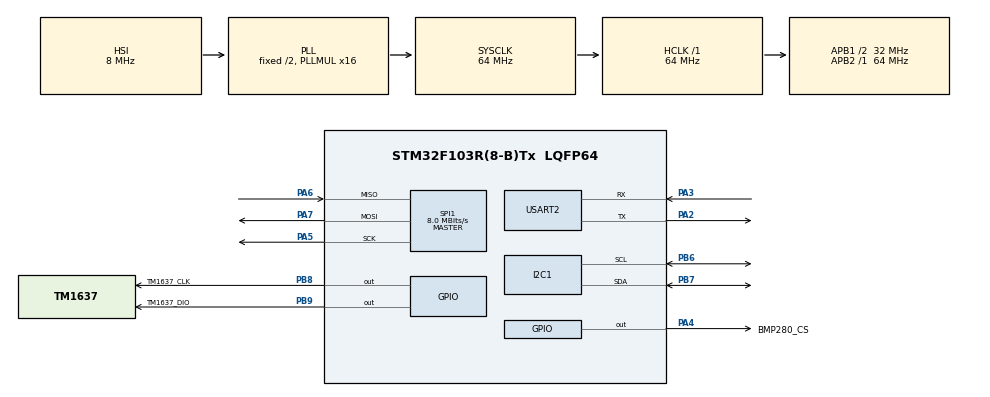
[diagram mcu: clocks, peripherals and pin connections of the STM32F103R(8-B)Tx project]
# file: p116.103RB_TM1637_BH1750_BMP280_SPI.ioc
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I2C1.I2C_Mode=I2C_Standard
Mcu.Family=STM32F1
Mcu.Name=STM32F103R(8-B)Tx
Mcu.Package=LQFP64
NVIC.PriorityGroup=NVIC_PRIORITYGROUP_4
PA13.Mode=Serial_Wire
PA13.Signal=SYS_JTMS-SWDIO
PA14.Mode=Serial_Wire
PA14.Signal=SYS_JTCK-SWCLK
PA2.Mode=Asynchronous
PA2.Signal=USART2_TX
PA3.Mode=Asynchronous
PA3.Signal=USART2_RX
PA4.GPIO_Label=BMP280_CS
PA4.GPIO_Speed=GPIO_SPEED_FREQ_HIGH
PA4.PinState=GPIO_PIN_SET
PA4.Signal=GPIO_Output
PA5.Mode=Full_Duplex_Master
PA5.Signal=SPI1_SCK
PA6.Mode=Full_Duplex_Master
PA6.Signal=SPI1_MISO
PA7.Mode=Full_Duplex_Master
PA7.Signal=SPI1_MOSI
PB6.Mode=I2C
PB6.Signal=I2C1_SCL
PB7.Mode=I2C
PB7.Signal=I2C1_SDA
PB8.GPIO_Label=TM1637_CLK
PB8.GPIO_Speed=GPIO_SPEED_FREQ_HIGH
PB8.PinState=GPIO_PIN_SET
PB8.Signal=GPIO_Output
PB9.GPIO_Label=TM1637_DIO
PB9.GPIO_ModeDefaultOutputPP=GPIO_MODE_OUTPUT_OD
PB9.GPIO_PuPd=GPIO_PULLUP
PB9.GPIO_Speed=GPIO_SPEED_FREQ_HIGH
PB9.PinState=GPIO_PIN_SET
PB9.Signal=GPIO_Output
ProjectManager.HeapSize=0x200
ProjectManager.StackSize=0x400
ProjectManager.TargetToolchain=STM32CubeIDE
RCC.AHBFreq_Value=64000000
RCC.APB1CLKDivider=RCC_HCLK_DIV2
RCC.APB1Freq_Value=32000000
RCC.APB1TimFreq_Value=64000000
RCC.APB2Freq_Value=64000000
RCC.APB2TimFreq_Value=64000000
RCC.HCLKFreq_Value=64000000
RCC.PLLMUL=RCC_PLL_MUL16
RCC.SYSCLKFreq_VALUE=64000000
RCC.SYSCLKSource=RCC_SYSCLKSOURCE_PLLCLK
RCC.USBFreq_Value=64000000
SPI1.BaudRatePrescaler=SPI_BAUDRATEPRESCALER_8
SPI1.CLKPhase=SPI_PHASE_2EDGE
SPI1.CLKPolarity=SPI_POLARITY_HIGH
SPI1.CalculateBaudRate=8.0 MBits/s
SPI1.Direction=SPI_DIRECTION_2LINES
SPI1.Mode=SPI_MODE_MASTER
SPI1.VirtualType=VM_MASTER
USART2.VirtualMode=VM_ASYNC
board=custom

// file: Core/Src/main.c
/* USER CODE BEGIN Header */
/**
  ******************************************************************************
  * @file           : main.c
  * @brief          : Main program body
  ******************************************************************************
  * @attention
  *
  * Copyright (c) 2026 STMicroelectronics.
  * All rights reserved.
  *
  * This software is licensed under terms that can be found in the LICENSE file
  * in the root directory of this software component.
  * If no LICENSE file comes with this software, it is provided AS-IS.
  *
  ******************************************************************************
  */
/* USER CODE END Header */
#include "main.h"

/* USER CODE BEGIN Includes */
#include <stdio.h>
#include <stdbool.h>
#include "bh1750.h"
#include "bmp280.h"
#include "tm1637.h"
/* USER CODE END Includes */

/* USER CODE BEGIN PM */

#define LOCAL_SEA_LEVEL_HPA    1023.4f
/* USER CODE END PM */

I2C_HandleTypeDef hi2c1;

SPI_HandleTypeDef hspi1;

UART_HandleTypeDef huart2;

/* USER CODE BEGIN PV */
static float illuminance = 0.0f; // 조도 (lx) - BH1750 (I2C1)
static float temperature = 0.0f; // 온도 (℃) - BMP280 (SPI1)
static float pressure    = 0.0f; // 기압 (hPa) - BMP280 (SPI1)
static float altitude    = 0.0f; // 고도 (m) - BMP280 (SPI1)
/* USER CODE END PV */

void SystemClock_Config(void);
static void MX_GPIO_Init(void);
static void MX_USART2_UART_Init(void);
static void MX_I2C1_Init(void);
static void MX_SPI1_Init(void);

/* USER CODE BEGIN 0 */
void __io_putchar(int ch)
{
	if(ch == '\n')
	{
		HAL_UART_Transmit (&huart2, (uint8_t*) "\r", 1, 0xffff);
	}

	HAL_UART_Transmit (&huart2, (uint8_t*) &ch, 1, 0xffff);
}
/* USER CODE END 0 */

int main(void)
{

  /* MCU Configuration--------------------------------------------------------*/

  /* Reset of all peripherals, Initializes the Flash interface and the Systick. */
  HAL_Init();

  /* Configure the system clock */
  SystemClock_Config();

  /* Initialize all configured peripherals */
  MX_GPIO_Init();
  MX_USART2_UART_Init();
  MX_I2C1_Init();
  MX_SPI1_Init();
  /* USER CODE BEGIN 2 */
  printf("\r\n======================================================================\r\n");
  printf("  [p116] STM32F103RB I2C1(BH1750) + SPI1(BMP280) System Demo          \r\n");
  printf("  - I2C1 (PB6=SCL, PB7=SDA): BH1750 Ambient Light Sensor (0x23)       \r\n");
  printf("  - SPI1 (PA4=CS, PA5=SCK, PA6=MISO, PA7=MOSI): BMP280 Sensor         \r\n");
  printf("  - GPIO (PB8/PB9): TM1637 4-Digit 7-Segment (Pressure Instant)       \r\n");
  printf("  - USART2 (PA2/PA3): 115200bps PC Tera Term Output                   \r\n");
  printf("======================================================================\r\n");

  // 1. TM1637 7-Segment 초기화 및 부팅 메시지 출력 ("TEST")
  TM1637_Init();
  TM1637_DisplayString("TEST");
  HAL_Delay(300);

  // 2. 센서 초기화 상태 확인
  uint8_t BH1750_init_ok = 1;
  uint8_t BMP280_init_ok = 1;

  // [I2C1] BH1750 조도 센서 초기화
  if (BH1750_Init(&hi2c1) == HAL_OK)
  {
      printf("[I2C1] BH1750 Light Sensor Initialized Successfully! (0x23)\r\n");
  }
  else
  {
      printf("[I2C1] BH1750 Light Sensor Initialization FAILED! (0x23)\r\n");
      BH1750_init_ok = 0;
  }

  // [SPI1] BMP280 기압/온도 센서 초기화 및 현지 해면기압(QNH) 보정 (방안 2)
  if (BMP280_Init(&hspi1) == HAL_OK)
  {
      // 현재 지역의 해면기압(QNH) 설정 -> 실제 해발 고도(m) 계산
      printf("[SPI1] BMP280 Sensor Initialized! (SeaLevel QNH: %.2f hPa)\r\n", BMP280_GetSeaLevelPressure());
  }
  else
  {
      printf("[SPI1] BMP280 Sensor Initialization FAILED! Check SPI1 Wiring (PA4~PA7).\r\n");
      BMP280_init_ok = 0;
  }

  // 초기화 결과 디스플레이
  if (BH1750_init_ok && BMP280_init_ok)
  {
      TM1637_DisplayString("GOOD");
      HAL_Delay(300);
  }
  else
  {
      TM1637_DisplayString("ERR ");
      HAL_Delay(300);
  }

  uint32_t lastUartTick       = 0;
  uint32_t lastSenseTick      = 0;
  int16_t  lastDisplayedPress = 0; // 초기값 (부팅 후 최초 1회 즉시 표시 보장)
  /* USER CODE END 2 */

  /* Infinite loop */
  /* USER CODE BEGIN WHILE */
  while (1)
  {
      uint32_t currentTick = HAL_GetTick();

      // [작업 1] 100ms 주기: I2C1(BH1750) + SPI1(BMP280) 고속 센싱 및 TM1637 세그먼트 갱신
      if (currentTick - lastSenseTick >= 100)
      {
          lastSenseTick = currentTick;

          // 1. I2C1에서 BH1750 조도(Lux) 읽기
          BH1750_ReadLux(&hi2c1, &illuminance);

          // 2. SPI1에서 BMP280 온도, 기압, 고도 읽기
          if (BMP280_ReadData(&hspi1, &temperature, &pressure, &altitude) == HAL_OK)
          {
              // 3. 기압 정수값이 변경되었을 때만 TM1637 7세그먼트 화면 갱신 (Dirty Check)
              int16_t press_int = (int16_t)(pressure + 0.5f);
              if (press_int != lastDisplayedPress)
              {
                  lastDisplayedPress = press_int;
                  TM1637_DisplayDecimal(press_int, false);
              }
          }
      }

      // [작업 2] 500ms 주기: PC 테라텀 UART 시리얼 출력 (소비)
      if (currentTick - lastUartTick >= 500)
      {
          lastUartTick = currentTick;

          // 센서 통신 없이, 100ms 블록이 갱신해 둔 최신 센서 변수들을 PC로 출력
          printf("[ALL SENSORS] Lux: %6.1f lx | Temp: %6.3f C | Press: %8.3f hPa | Altitude: %6.3f m\r\n",
                 illuminance, temperature, pressure, altitude);
      }
    /* USER CODE END WHILE */

  }
}

void SystemClock_Config(void)
{
  RCC_OscInitTypeDef RCC_OscInitStruct = {0};
  RCC_ClkInitTypeDef RCC_ClkInitStruct = {0};

  /** Initializes the RCC Oscillators according to the specified parameters
  * in the RCC_OscInitTypeDef structure.
  */
  RCC_OscInitStruct.OscillatorType = RCC_OSCILLATORTYPE_HSI;
  RCC_OscInitStruct.HSIState = RCC_HSI_ON;
  RCC_OscInitStruct.HSICalibrationValue = RCC_HSICALIBRATION_DEFAULT;
  RCC_OscInitStruct.PLL.PLLState = RCC_PLL_ON;
  RCC_OscInitStruct.PLL.PLLSource = RCC_PLLSOURCE_HSI_DIV2;
  RCC_OscInitStruct.PLL.PLLMUL = RCC_PLL_MUL16;
  if (HAL_RCC_OscConfig(&RCC_OscInitStruct) != HAL_OK)
  {
    Error_Handler();
  }

  /** Initializes the CPU, AHB and APB buses clocks
  */
  RCC_ClkInitStruct.ClockType = RCC_CLOCKTYPE_HCLK|RCC_CLOCKTYPE_SYSCLK
                              |RCC_CLOCKTYPE_PCLK1|RCC_CLOCKTYPE_PCLK2;
  RCC_ClkInitStruct.SYSCLKSource = RCC_SYSCLKSOURCE_PLLCLK;
  RCC_ClkInitStruct.AHBCLKDivider = RCC_SYSCLK_DIV1;
  RCC_ClkInitStruct.APB1CLKDivider = RCC_HCLK_DIV2;
  RCC_ClkInitStruct.APB2CLKDivider = RCC_HCLK_DIV1;

  if (HAL_RCC_ClockConfig(&RCC_ClkInitStruct, FLASH_LATENCY_2) != HAL_OK)
  {
    Error_Handler();
  }
}

static void MX_I2C1_Init(void)
{

  hi2c1.Instance = I2C1;
  hi2c1.Init.ClockSpeed = 100000;
  hi2c1.Init.DutyCycle = I2C_DUTYCYCLE_2;
  hi2c1.Init.OwnAddress1 = 0;
  hi2c1.Init.AddressingMode = I2C_ADDRESSINGMODE_7BIT;
  hi2c1.Init.DualAddressMode = I2C_DUALADDRESS_DISABLE;
  hi2c1.Init.OwnAddress2 = 0;
  hi2c1.Init.GeneralCallMode = I2C_GENERALCALL_DISABLE;
  hi2c1.Init.NoStretchMode = I2C_NOSTRETCH_DISABLE;
  if (HAL_I2C_Init(&hi2c1) != HAL_OK)
  {
    Error_Handler();
  }

}

static void MX_SPI1_Init(void)
{

  /* SPI1 parameter configuration*/
  hspi1.Instance = SPI1;
  hspi1.Init.Mode = SPI_MODE_MASTER;
  hspi1.Init.Direction = SPI_DIRECTION_2LINES;
  hspi1.Init.DataSize = SPI_DATASIZE_8BIT;
  hspi1.Init.CLKPolarity = SPI_POLARITY_HIGH;
  hspi1.Init.CLKPhase = SPI_PHASE_2EDGE;
  hspi1.Init.NSS = SPI_NSS_SOFT;
  hspi1.Init.BaudRatePrescaler = SPI_BAUDRATEPRESCALER_8;
  hspi1.Init.FirstBit = SPI_FIRSTBIT_MSB;
  hspi1.Init.TIMode = SPI_TIMODE_DISABLE;
  hspi1.Init.CRCCalculation = SPI_CRCCALCULATION_DISABLE;
  hspi1.Init.CRCPolynomial = 10;
  if (HAL_SPI_Init(&hspi1) != HAL_OK)
  {
    Error_Handler();
  }

}

static void MX_USART2_UART_Init(void)
{

  huart2.Instance = USART2;
  huart2.Init.BaudRate = 115200;
  huart2.Init.WordLength = UART_WORDLENGTH_8B;
  huart2.Init.StopBits = UART_STOPBITS_1;
  huart2.Init.Parity = UART_PARITY_NONE;
  huart2.Init.Mode = UART_MODE_TX_RX;
  huart2.Init.HwFlowCtl = UART_HWCONTROL_NONE;
  huart2.Init.OverSampling = UART_OVERSAMPLING_16;
  if (HAL_UART_Init(&huart2) != HAL_OK)
  {
    Error_Handler();
  }

}

static void MX_GPIO_Init(void)
{
  GPIO_InitTypeDef GPIO_InitStruct = {0};

  /* GPIO Ports Clock Enable */
  __HAL_RCC_GPIOA_CLK_ENABLE();
  __HAL_RCC_GPIOB_CLK_ENABLE();

  /*Configure GPIO pin Output Level */
  HAL_GPIO_WritePin(BMP280_CS_GPIO_Port, BMP280_CS_Pin, GPIO_PIN_SET);

  /*Configure GPIO pin Output Level */
  HAL_GPIO_WritePin(GPIOB, TM1637_CLK_Pin|TM1637_DIO_Pin, GPIO_PIN_SET);

  /*Configure GPIO pin : BMP280_CS_Pin */
  GPIO_InitStruct.Pin = BMP280_CS_Pin;
  GPIO_InitStruct.Mode = GPIO_MODE_OUTPUT_PP;
  GPIO_InitStruct.Pull = GPIO_NOPULL;
  GPIO_InitStruct.Speed = GPIO_SPEED_FREQ_HIGH;
  HAL_GPIO_Init(BMP280_CS_GPIO_Port, &GPIO_InitStruct);

  /*Configure GPIO pin : TM1637_CLK_Pin */
  GPIO_InitStruct.Pin = TM1637_CLK_Pin;
  GPIO_InitStruct.Mode = GPIO_MODE_OUTPUT_PP;
  GPIO_InitStruct.Pull = GPIO_NOPULL;
  GPIO_InitStruct.Speed = GPIO_SPEED_FREQ_HIGH;
  HAL_GPIO_Init(TM1637_CLK_GPIO_Port, &GPIO_InitStruct);

  /*Configure GPIO pin : TM1637_DIO_Pin */
  GPIO_InitStruct.Pin = TM1637_DIO_Pin;
  GPIO_InitStruct.Mode = GPIO_MODE_OUTPUT_OD;
  GPIO_InitStruct.Pull = GPIO_PULLUP;
  GPIO_InitStruct.Speed = GPIO_SPEED_FREQ_HIGH;
  HAL_GPIO_Init(TM1637_DIO_GPIO_Port, &GPIO_InitStruct);

}

void Error_Handler(void)
{
  __disable_irq();
  while (1)
  {
  }
}
